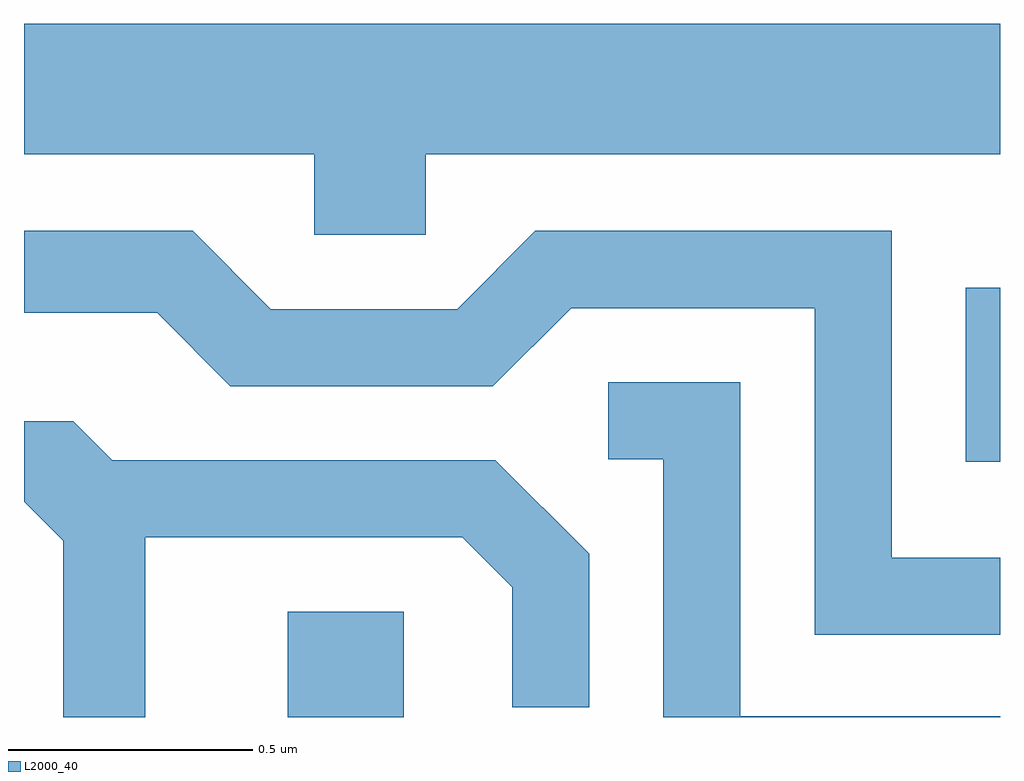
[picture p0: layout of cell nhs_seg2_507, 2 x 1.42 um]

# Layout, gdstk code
import gdstk
lib = gdstk.Library(unit=1e-6, precision=1e-09)
def R(c, l, rs):  # rectangles x0, y0, x1, y1
    for r in rs: c.add(gdstk.rectangle(r[:2], r[2:], *l))
def P(c, l, *ps):  # polygons
    for p in ps: c.add(gdstk.Polygon(p, *l))
L2000_40 = (2000, 40)

nhs_seg2_507 = lib.new_cell('nhs_seg2_507')
R(nhs_seg2_507, L2000_40, [(189.151,1073.802,189.389,1074.019), (190.541,1074.326,190.611,1074.683)])
P(nhs_seg2_507, L2000_40, [(189.434,1074.956),(190.611,1074.956),(190.611,1075.224),(188.611,1075.224),(188.611,1074.956),(189.206,1074.956),(189.206,1074.791),(189.434,1074.791)],
  [(190.611,1074.129),(190.389,1074.129),(190.389,1074.799),(189.659,1074.799),(189.499,1074.639),(189.117,1074.639),(188.957,1074.799),(188.611,1074.799),(188.611,1074.631),(188.884,1074.631),(189.034,1074.481),(189.572,1074.481),(189.732,1074.641),(190.231,1074.641),(190.231,1073.971),(190.611,1073.971)],
  [(190.611,1073.804),(190.079,1073.804),(190.079,1074.489),(189.808,1074.489),(189.808,1074.331),(189.921,1074.331),(189.921,1073.802),(190.611,1073.802)],
  [(188.859,1074.171),(189.509,1074.171),(189.611,1074.069),(189.611,1073.823),(189.769,1073.823),(189.769,1074.137),(189.577,1074.329),(188.792,1074.329),(188.712,1074.409),(188.611,1074.409),(188.611,1074.244),(188.691,1074.164),(188.691,1073.802),(188.859,1073.802)])

lib.write_gds('nhs_seg2_507.gds')
